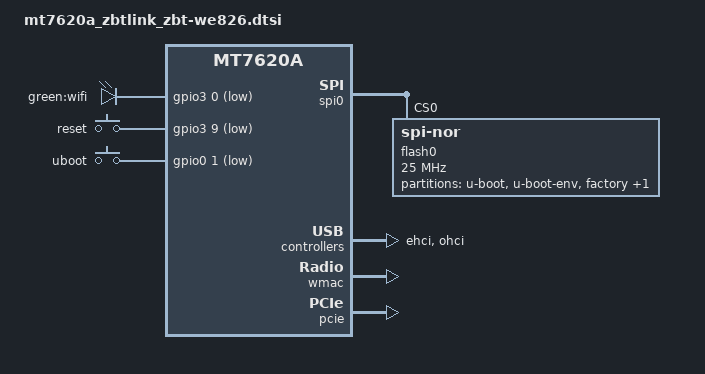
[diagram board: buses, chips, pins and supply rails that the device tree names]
#include "mt7620a.dtsi"

#include <dt-bindings/gpio/gpio.h>
#include <dt-bindings/input/input.h>
#include <dt-bindings/leds/common.h>

/ {
	compatible = "zbtlink,zbt-we826", "ralink,mt7620a-soc";

	chosen {
		bootargs = "console=ttyS0,115200";
	};

	pinctrl {
		state_default: pinctrl0 {
			gpio {
				ralink,group = "wled";
				ralink,function = "gpio";
			};
		};
	};

	leds {
		compatible = "gpio-leds";

		air {
			label = "green:wifi";
			gpios = <&gpio3 0 GPIO_ACTIVE_LOW>;
			linux,default-trigger = "phy0tpt";
		};
	};

	keys {
		compatible = "gpio-keys";

		reset {
			label = "reset";
			gpios = <&gpio3 9 GPIO_ACTIVE_LOW>;
			linux,code = <KEY_RESTART>;
		};

		uboot {
			label = "uboot";
			gpios = <&gpio0 1 GPIO_ACTIVE_LOW>;
			linux,code = <KEY_RESTART>;
		};
	};
};

&spi0 {
	status = "okay";

	flash0: flash@0 {
		compatible = "jedec,spi-nor";
		reg = <0>;
		spi-max-frequency = <25000000>;

		partitions {
			compatible = "fixed-partitions";
			#address-cells = <1>;
			#size-cells = <1>;

			partition@0 {
				label = "u-boot";
				reg = <0x0 0x30000>;
				read-only;
			};

			partition@30000 {
				label = "u-boot-env";
				reg = <0x30000 0x10000>;
				read-only;
			};

			partition@40000 {
				label = "factory";
				reg = <0x40000 0x10000>;
				read-only;

				nvmem-layout {
					compatible = "fixed-layout";
					#address-cells = <1>;
					#size-cells = <1>;

					eeprom_factory_0: eeprom@0 {
						reg = <0x0 0x200>;
					};

					macaddr_factory_4: macaddr@4 {
						reg = <0x4 0x6>;
					};
				};
			};

			firmware: partition@50000 {
				compatible = "denx,uimage";
				label = "firmware";
				/* reg property is set based on flash size in DTS files */
			};
		};
	};
};

&ehci {
	status = "okay";
	mediatek,usb-delay-reset = <100>;
};

&ohci {
	status = "okay";
};

&ethernet {
	nvmem-cells = <&macaddr_factory_4>;
	nvmem-cell-names = "mac-address";
	mediatek,portmap = "wllll";
};

&wmac {
	nvmem-cells = <&eeprom_factory_0>;
	nvmem-cell-names = "eeprom";
};

&pcie {
	status = "okay";
};

&gpio1 {
	status = "okay";
};

&gpio2 {
	status = "okay";
};

&gpio3 {
	status = "okay";
};
